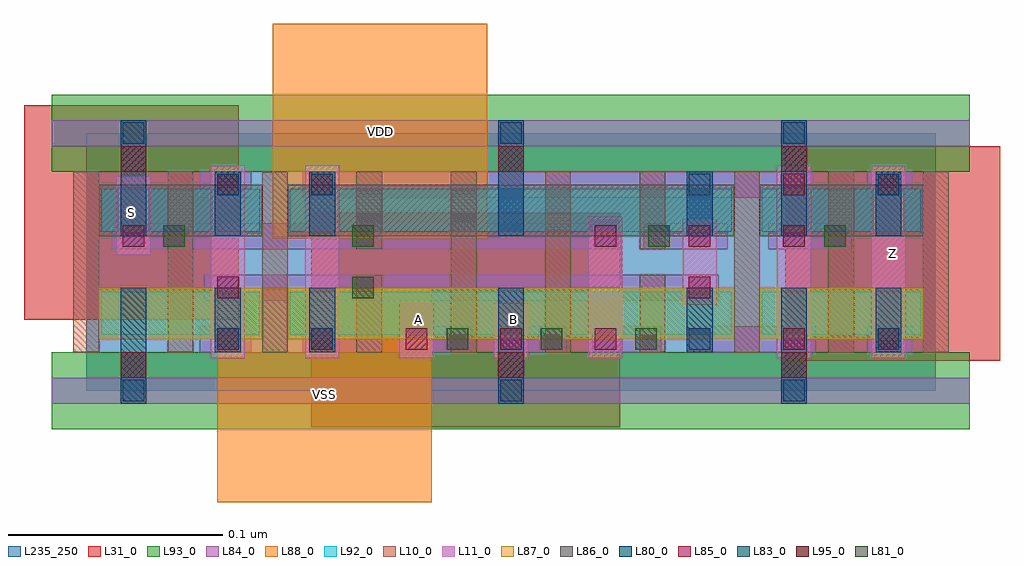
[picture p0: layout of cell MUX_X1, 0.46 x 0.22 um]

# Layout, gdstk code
import gdstk
lib = gdstk.Library(unit=1e-6, precision=1e-09)
def R(c, l, rs):  # rectangles x0, y0, x1, y1
    for r in rs: c.add(gdstk.rectangle(r[:2], r[2:], *l))
def A(c, l, x, y, w, h, nx, ny, dx, dy):  # array of equal rectangles
    R(c, l, [(x+i*dx, y+j*dy, x+i*dx+w, y+j*dy+h) for i in range(nx) for j in range(ny)])
L10_0 = (10, 0)
L11_0 = (11, 0)
L31_0 = (31, 0)
L80_0 = (80, 0)
L81_0 = (81, 0)
L83_0 = (83, 0)
L84_0 = (84, 0)
L85_0 = (85, 0)
L86_0 = (86, 0)
L87_0 = (87, 0)
L88_0 = (88, 0)
L92_0 = (92, 0)
L93_0 = (93, 0)
L95_0 = (95, 0)
L235_250 = (235, 250)

mux_x1 = lib.new_cell('MUX_X1')
A(mux_x1, L10_0, -0.006, 0.018, 0.012, 0.084, 3, 1, 0.044, 0)
A(mux_x1, L10_0, 0.302, 0.018, 0.012, 0.084, 3, 1, 0.044, 0)
R(mux_x1, L10_0, [(0.126,0.018,0.138,0.054), (0.17,0.018,0.182,0.102), (0.214,0.018,0.226,0.102), (0.258,0.018,0.27,0.054), (0.126,0.066,0.138,0.102), (0.258,0.066,0.27,0.102)])
R(mux_x1, L11_0, [(0.058,0.015,0.074,0.105), (0.102,0.015,0.118,0.105), (0.146,0.015,0.162,0.041), (0.19,0.015,0.206,0.041), (0.234,0.015,0.25,0.081), (0.322,0.015,0.338,0.105), (0.366,0.015,0.382,0.105), (0.278,0.04,0.294,0.08), (0.014,0.063,0.03,0.1)])
R(mux_x1, L31_0, [(0.105,-0.017,0.205,0.083), (0.149,-0.017,0.249,0.083), (0.326,0.014,0.426,0.114), (-0.029,0.033,0.071,0.133)])
R(mux_x1, L80_0, [(0.016,-0.006,0.028,0.048), (0.192,-0.006,0.204,0.048), (0.324,-0.006,0.336,0.048), (0.06,0.018,0.072,0.048), (0.104,0.018,0.116,0.048), (0.28,0.018,0.292,0.048), (0.368,0.018,0.38,0.048), (0.016,0.072,0.028,0.126), (0.06,0.072,0.072,0.102), (0.104,0.072,0.116,0.102), (0.192,0.072,0.204,0.126), (0.28,0.072,0.292,0.102), (0.324,0.072,0.336,0.126), (0.368,0.072,0.38,0.102)])
A(mux_x1, L81_0, 0.168, 0.019, 0.01, 0.01, 3, 1, 0.044, 0)
R(mux_x1, L81_0, [(0.124,0.043,0.134,0.053), (0.036,0.067,0.046,0.077), (0.124,0.067,0.134,0.077), (0.262,0.067,0.272,0.077), (0.344,0.067,0.354,0.077)])
R(mux_x1, L83_0, [(0.017,-0.005,0.027,0.005), (0.193,-0.005,0.203,0.005), (0.325,-0.005,0.335,0.005), (0.061,0.019,0.071,0.029), (0.105,0.019,0.115,0.029), (0.281,0.019,0.291,0.029), (0.369,0.019,0.379,0.029), (0.061,0.091,0.071,0.101), (0.105,0.091,0.115,0.101), (0.281,0.091,0.291,0.101), (0.369,0.091,0.379,0.101), (0.017,0.115,0.027,0.125), (0.193,0.115,0.203,0.125), (0.325,0.115,0.335,0.125)])
R(mux_x1, L84_0, [(-0.016,-0.006,0.412,0.006), (0.053,0.018,0.077,0.03), (0.101,0.018,0.125,0.03), (0.145,0.018,0.18,0.03), (0.192,0.018,0.224,0.03), (0.236,0.018,0.268,0.03), (0.28,0.018,0.34,0.03), (0.364,0.018,0.385,0.03), (0.055,0.042,0.295,0.054), (0.012,0.066,0.248,0.078), (0.26,0.066,0.299,0.078), (0.318,0.066,0.357,0.078), (0.053,0.09,0.077,0.102), (0.101,0.09,0.339,0.102), (0.364,0.09,0.385,0.102), (-0.016,0.114,0.412,0.126)])
A(mux_x1, L85_0, 0.061, 0.019, 0.01, 0.01, 5, 1, 0.044, 0)
A(mux_x1, L85_0, 0.237, 0.067, 0.01, 0.01, 3, 1, 0.044, 0)
R(mux_x1, L85_0, [(0.325,0.019,0.335,0.029), (0.369,0.019,0.379,0.029), (0.061,0.043,0.071,0.053), (0.281,0.043,0.291,0.053), (0.017,0.067,0.027,0.077), (0.061,0.091,0.071,0.101), (0.105,0.091,0.115,0.101), (0.325,0.091,0.335,0.101), (0.369,0.091,0.379,0.101)])
R(mux_x1, L86_0, [(0.006,0.072,0.082,0.096), (0.094,0.072,0.302,0.096), (0.314,0.072,0.39,0.096)])
R(mux_x1, L87_0, [(0.006,0.024,0.082,0.048), (0.094,0.024,0.302,0.048), (0.314,0.024,0.39,0.048)])
R(mux_x1, L88_0, [(0.061,-0.052,0.161,0.048), (0.087,0.071,0.187,0.171)])
R(mux_x1, L92_0, [(0.007,0.026,0.081,0.046), (0.095,0.026,0.301,0.046), (0.315,0.026,0.389,0.046), (0.007,0.074,0.081,0.094), (0.095,0.074,0.301,0.094), (0.315,0.074,0.389,0.094)])
R(mux_x1, L93_0, [(-0.016,-0.018,0.412,0.018), (-0.016,0.102,0.412,0.138)])
R(mux_x1, L95_0, [(0.016,0.006,0.028,0.018), (0.192,0.006,0.204,0.018), (0.324,0.006,0.336,0.018), (0.016,0.102,0.028,0.114), (0.192,0.102,0.204,0.114), (0.324,0.102,0.336,0.114)])
R(mux_x1, L235_250, [(0,0,0.396,0.12)])
mux_x1.add(gdstk.Label('VDD', (0.137,0.121), layer=88, texttype=0))
mux_x1.add(gdstk.Label('VSS', (0.111,-0.002), layer=88, texttype=0))
mux_x1.add(gdstk.Label('A', (0.155,0.033), layer=31, texttype=0))
mux_x1.add(gdstk.Label('Z', (0.376,0.064), layer=31, texttype=0))
mux_x1.add(gdstk.Label('B', (0.199,0.033), layer=31, texttype=0))
mux_x1.add(gdstk.Label('S', (0.021,0.083), layer=31, texttype=0))

lib.write_gds('MUX_X1.gds')
